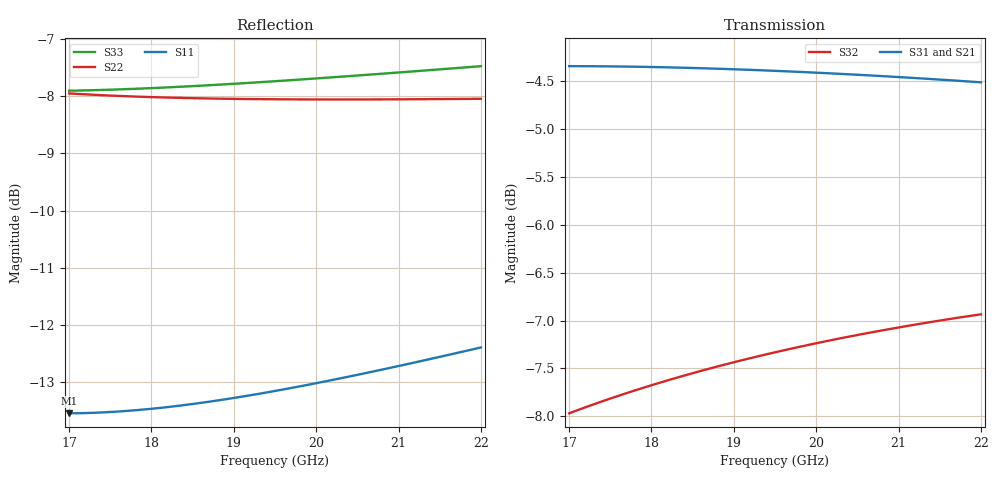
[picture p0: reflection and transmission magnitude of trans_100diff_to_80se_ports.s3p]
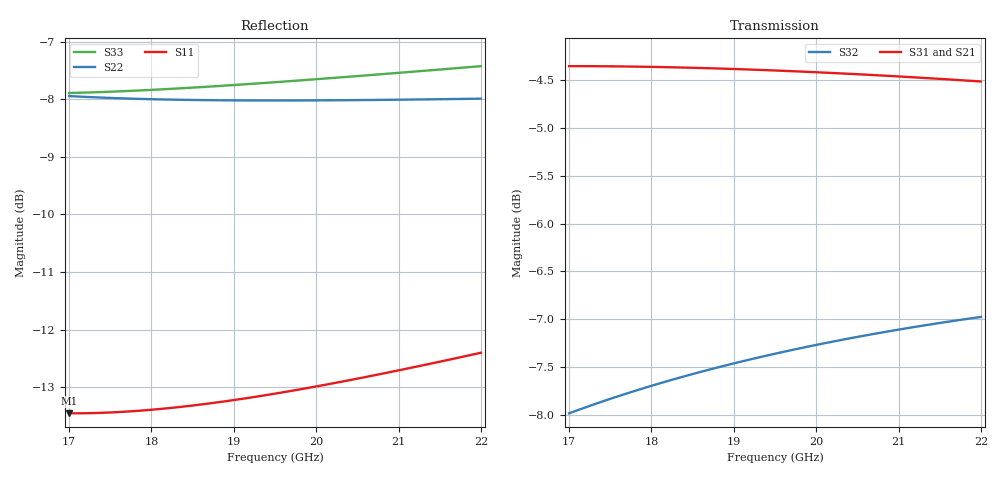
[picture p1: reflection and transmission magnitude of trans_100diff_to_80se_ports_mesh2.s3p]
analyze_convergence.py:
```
#!/usr/bin/env python
"""Mesh convergence analysis for trans_100diff_to_80se_ports (3-port MIM-
loaded balun: port 1 single-ended, ports 2/3 a differential pair).

Uniform mesh sweep at refined_cellsize = 3 (the initial baseline check), 2,
1 um (order 2) plus AMR (2 iterations, starting mesh 2 um) -- no order=1
comparison for this study. Metal3 is pinned to a fixed 5 um refined_cellsize
in every variant (refined_cellsize_override), independent of the swept
global cell size, and merge_polygon_size=3um (TopVia2 array merging) is
identical across all variants -- so the 3um baseline run is directly
comparable to the mesh2/mesh1/amr2 sweep despite predating it.

Uses the RAW (non-de-embedded) Touchstone files throughout, not the
port-inductance-de-embedded ones -- same convention as the baseline
analysis in analyze_baseline.py, so the whole report stays internally
consistent.

Mixed-mode reduction (single-ended port 1 <-> differential mode of ports
2/3, at the true Z01=80 ohm / Z02=100 ohm system impedances) is the same
one documented in analyze_baseline.py -- see that file for the derivation.
"""
import os
import csv
import numpy as np
import skrf as rf
import matplotlib
matplotlib.use("Agg")
import matplotlib.pyplot as plt

HERE = os.path.dirname(os.path.abspath(__file__))
SNP_DIR = os.path.join(HERE, "snp")
PLOT_DIR = os.path.join(HERE, "plots")

UNIFORM_SERIES = [
    ("mesh3", "3 um (uniform, initial check)", "trans_100diff_to_80se_ports.s3p"),
    ("mesh2", "2 um (uniform)", "trans_100diff_to_80se_ports_mesh2.s3p"),
    ("mesh1", "1 um (uniform)", "trans_100diff_to_80se_ports_mesh1.s3p"),
]
AMR_ENTRY = ("amr2", "AMR (2 um start, 2 it.)", "trans_100diff_to_80se_ports_amr2.s3p")

Z01 = 80.0   # true single-ended external system impedance (port 1)
Z02 = 100.0  # true differential external system impedance (ports 2/3)

EVAL_FREQS_GHZ = [17, 19.5, 22]  # band edges + center

PARAMS = ["Sss11", "Sds21", "Sdd22"]


def load(entry):
    key, label, fname = entry
    path = os.path.join(SNP_DIR, fname)
    if not os.path.isfile(path):
        return None
    nw = rf.Network(path)
    nw.name = label
    return key, label, nw


def db(x):
    return 20 * np.log10(np.abs(x))


def deg(x):
    return np.angle(x, deg=True)


def mixed_mode_traces(nw, z01=Z01, z02=Z02):
    Z = nw.z
    Zaa = Z[:, 0, 0]
    Zab = Z[:, 0, 1] - Z[:, 0, 2]
    Zba = Z[:, 1, 0] - Z[:, 2, 0]
    Zbb = Z[:, 1, 1] - Z[:, 1, 2] - Z[:, 2, 1] + Z[:, 2, 2]
    D = (Zaa + z01) * (Zbb + z02) - Zab * Zba
    Sss11 = ((Zaa - z01) * (Zbb + z02) - Zab * Zba) / D
    Sdd22 = ((Zaa + z01) * (Zbb - z02) - Zab * Zba) / D
    Sds21 = 2 * Zba * np.sqrt(z01 * z02) / D
    return {"Sss11": Sss11, "Sds21": Sds21, "Sdd22": Sdd22}


def true_z_single_ended(nw, z01=Z01):
    """Renormalize to the true system impedance per physical port: port 1
    (single-ended) to z01, ports 2/3 left at 50 ohm each -- the natural
    per-leg reference for a 100 ohm differential pair with equal legs
    (Zdiff = 2*50). Returns raw S21, S31 (port1->port2, port1->port3)."""
    nw2 = nw.copy()
    nw2.renormalize([z01, 50.0, 50.0])
    return nw2.s[:, 1, 0], nw2.s[:, 2, 0]


def amplitude_imbalance_db(nw, z01=Z01):
    s21, s31 = true_z_single_ended(nw, z01)
    return db(s21) - db(s31)


def phase_difference_centered(nw, z01=Z01, center_deg=180.0):
    """Phase(S21)-Phase(S31), unwrapped along frequency to avoid the raw
    +/-180 wraparound artifact, then shifted by a whole number of 360 deg
    turns so the trace sits near center_deg (the physically expected value
    for a balun's two antiphase differential outputs)."""
    s21, s31 = true_z_single_ended(nw, z01)
    ratio = s21 / s31
    phase_deg = np.unwrap(np.angle(ratio)) * 180.0 / np.pi
    shift = np.round((center_deg - np.mean(phase_deg)) / 360.0) * 360.0
    return phase_deg + shift


def value_at_freq(freq, x, freq_hz):
    i = int(np.argmin(np.abs(freq - freq_hz)))
    return x[i] if abs(freq[i] - freq_hz) < 0.06e9 else None


def max_delta_linear(fa, xa, fb, xb):
    common = np.intersect1d(fa, fb)
    if common.size == 0:
        return None
    ia = np.searchsorted(fa, common)
    ib = np.searchsorted(fb, common)
    return float(np.max(np.abs(xb[ib] - xa[ia])))


def delta_db_at_freq(fa, xa, fb, xb, freq_hz):
    ia = int(np.argmin(np.abs(fa - freq_hz)))
    ib = int(np.argmin(np.abs(fb - freq_hz)))
    if abs(fa[ia] - freq_hz) > 0.06e9 or abs(fb[ib] - freq_hz) > 0.06e9:
        return None
    return float(abs(db(xb[ib]) - db(xa[ia])))


def main():
    loaded = []
    for entry in UNIFORM_SERIES:
        result = load(entry)
        if result:
            loaded.append(result)
        else:
            print(f"WARNING: missing {entry[2]}, skipping")
    amr_result = load(AMR_ENTRY)
    if not amr_result:
        print(f"WARNING: missing {AMR_ENTRY[2]}")

    if len(loaded) < 2:
        print("Need at least two uniform-mesh results; exiting.")
        return

    traces = {}
    for key, label, nw in loaded + ([amr_result] if amr_result else []):
        traces[key] = (nw.frequency.f, mixed_mode_traces(nw))

    def fmt(x):
        return f"{x:.4f}" if x is not None else "n/a"

    comparisons = [(loaded[i - 1], loaded[i]) for i in range(1, len(loaded))]
    if amr_result:
        comparisons.append((loaded[-1], amr_result))

    csv_path = os.path.join(HERE, "delta_S_table.csv")
    with open(csv_path, "w", newline="") as f:
        writer = csv.writer(f)
        writer.writerow(["Param", "Comparison", "Max|dS| (linear)"] +
                         [f"|dS_dB| at {fg}GHz" for fg in EVAL_FREQS_GHZ])
        for pname in PARAMS:
            for (key_a, label_a, _), (key_b, label_b, _) in comparisons:
                fa, xa = traces[key_a][0], traces[key_a][1][pname]
                fb, xb = traces[key_b][0], traces[key_b][1][pname]
                max_d = max_delta_linear(fa, xa, fb, xb)
                d_vals = [delta_db_at_freq(fa, xa, fb, xb, fg * 1e9) for fg in EVAL_FREQS_GHZ]
                writer.writerow([pname, f"{label_a} -> {label_b}", fmt(max_d)] + [fmt(d) for d in d_vals])
    print(f"Wrote delta-S table: {csv_path}")

    if amr_result:
        ref_key, ref_label, _ = amr_result
        csv_path_ref = os.path.join(HERE, "delta_S_vs_finest.csv")
        with open(csv_path_ref, "w", newline="") as f:
            writer = csv.writer(f)
            writer.writerow(["Param", "Mesh", f"Max|dS| vs. {ref_label} (linear)"] +
                             [f"|dS_dB| at {fg}GHz" for fg in EVAL_FREQS_GHZ])
            for pname in PARAMS:
                for key, label, _ in loaded:
                    fa, xa = traces[key][0], traces[key][1][pname]
                    fb, xb = traces[ref_key][0], traces[ref_key][1][pname]
                    max_d = max_delta_linear(fa, xa, fb, xb)
                    d_vals = [delta_db_at_freq(fa, xa, fb, xb, fg * 1e9) for fg in EVAL_FREQS_GHZ]
                    writer.writerow([pname, label, fmt(max_d)] + [fmt(d) for d in d_vals])
        print(f"Wrote delta-S-vs-finest table: {csv_path_ref}")

    all_keys_for_mag = [k for k, _, _ in loaded] + (["amr2"] if amr_result else [])
    all_labels_for_mag = {k: l for k, l, _ in loaded}
    if amr_result:
        all_labels_for_mag[amr_result[0]] = amr_result[1]
    csv_path_mag = os.path.join(HERE, "s_parameter_magnitude_table.csv")
    with open(csv_path_mag, "w", newline="") as f:
        writer = csv.writer(f)
        writer.writerow(["Param", "Mesh"] + [f"{fg} GHz |S| (dB)" for fg in EVAL_FREQS_GHZ])
        for pname in PARAMS:
            for key in all_keys_for_mag:
                freq, pdict = traces[key]
                x = pdict[pname]
                mags = [value_at_freq(freq, x, fg * 1e9) for fg in EVAL_FREQS_GHZ]
                row = [pname, all_labels_for_mag[key]] + [f"{db(v):.3f}" if v is not None else "n/a" for v in mags]
                writer.writerow(row)
    print(f"Wrote S-parameter magnitude table: {csv_path_mag}")

    os.makedirs(PLOT_DIR, exist_ok=True)
    colors = {"mesh3": "#8172b2", "mesh2": "#4c72b0", "mesh1": "#dd8452", "amr2": "#55a868"}
    all_keys = [k for k, _, _ in loaded] + (["amr2"] if amr_result else [])
    all_labels = {k: l for k, l, _ in loaded}
    if amr_result:
        all_labels[amr_result[0]] = amr_result[1]

    for pname in PARAMS:
        fig, (ax_mag, ax_phase) = plt.subplots(2, 1, figsize=(8, 7), sharex=True)
        for key in all_keys:
            freq, pdict = traces[key]
            style = "--" if key == "amr2" else "-"
            freq_ghz = freq / 1e9
            ax_mag.plot(freq_ghz, db(pdict[pname]), color=colors[key], linestyle=style, label=all_labels[key])
            ax_phase.plot(freq_ghz, deg(pdict[pname]), color=colors[key], linestyle=style, label=all_labels[key])
        ax_mag.set_ylabel(f"|{pname}| (dB)")
        ax_mag.grid(True, alpha=0.3)
        ax_mag.legend(fontsize=8)
        ax_mag.set_title(f"{pname} vs. mesh refinement (Z01={Z01:.0f} ohm SE, Z02={Z02:.0f} ohm diff)")
        ax_phase.set_xlabel("Frequency (GHz)")
        ax_phase.set_ylabel(f"arg({pname}) (deg)")
        ax_phase.grid(True, alpha=0.3)
        fig.tight_layout()
        out_path = os.path.join(PLOT_DIR, f"{pname.lower()}_convergence.png")
        fig.savefig(out_path, dpi=150)
        plt.close(fig)
        print(f"Wrote plot: {out_path}")

    # amplitude imbalance and phase difference between the two differential
    # outputs (S21, S31), at the true system impedance (port 1 -> 80 ohm,
    # ports 2/3 left at 50 ohm each -- the natural per-leg reference for the
    # 100 ohm differential pair)
    all_nws = {k: nw for k, _, nw in loaded}
    if amr_result:
        all_nws[amr_result[0]] = amr_result[2]

    fig, ax = plt.subplots(figsize=(8, 4.5))
    for key in all_keys:
        nw = all_nws[key]
        freq_ghz = nw.frequency.f / 1e9
        style = "--" if key == "amr2" else "-"
        ax.plot(freq_ghz, amplitude_imbalance_db(nw), color=colors[key], linestyle=style, label=all_labels[key])
    ax.set_xlabel("Frequency (GHz)")
    ax.set_ylabel("|S21| - |S31| (dB)")
    ax.set_title(f"Amplitude imbalance, port 2 vs. port 3 (true Z: port1={Z01:.0f} ohm, ports2/3=50 ohm each)")
    ax.grid(True, alpha=0.3)
    ax.legend(fontsize=8)
    fig.tight_layout()
    out_path = os.path.join(PLOT_DIR, "amplitude_imbalance.png")
    fig.savefig(out_path, dpi=150)
    plt.close(fig)
    print(f"Wrote plot: {out_path}")

    fig, ax = plt.subplots(figsize=(8, 4.5))
    for key in all_keys:
        nw = all_nws[key]
        freq_ghz = nw.frequency.f / 1e9
        style = "--" if key == "amr2" else "-"
        ax.plot(freq_ghz, phase_difference_centered(nw), color=colors[key], linestyle=style, label=all_labels[key])
    ax.set_xlabel("Frequency (GHz)")
    ax.set_ylabel("Phase(S21) - Phase(S31) (deg)")
    ax.set_ylim(177, 183)
    ax.axhline(180, color="black", linewidth=0.8, alpha=0.5)
    ax.set_title(f"Phase difference, port 2 vs. port 3 (true Z: port1={Z01:.0f} ohm, ports2/3=50 ohm each)")
    ax.grid(True, alpha=0.3)
    ax.legend(fontsize=8)
    fig.tight_layout()
    out_path = os.path.join(PLOT_DIR, "phase_difference.png")
    fig.savefig(out_path, dpi=150)
    plt.close(fig)
    print(f"Wrote plot: {out_path}")


if __name__ == "__main__":
    main()
```
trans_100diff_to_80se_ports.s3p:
#  GHZ S DB R 50.0
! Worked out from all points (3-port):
!   51 points, 17 GHz to 22 GHz, reference 50 ohm
!   strongest paths, dB at 17 GHz, 18.2 GHz, 19.5 GHz, 20.8 GHz, 22 GHz:
!     S31: -4.3, -4.4, -4.4, -4.4, -4.5
!     S21: -4.5, -4.4, -4.4, -4.4, -4.4
!     S32: -8.0, -7.6, -7.3, -7.1, -6.9
!   lowest |S11| = -13.5 dB at 17 GHz (marker M1), VSWR 1.53, Z = 75.5 + j6.92 ohm
!   |S11| at or under -10 dB: start of sweep to end of sweep
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17  -13.54 12.0  -4.49 -173.7  -4.35 6.0
    -4.49 -173.7  -7.95 95.4  -7.97 73.4
    -4.35 6.0  -7.97 73.4  -7.90 92.5
18.1  -13.45 -2.1  -4.44 178.5  -4.36 -1.4
      -4.44 178.5  -8.02 85.3  -7.65 66.1
      -4.36 -1.4  -7.65 66.1  -7.85 82.7
19.3  -13.20 -15.6  -4.41 170.5  -4.39 -9.0
      -4.41 170.5  -8.05 75.7  -7.37 58.8
      -4.39 -9.0  -7.37 58.8  -7.76 73.5
20.6  -12.84 -28.3  -4.40 162.4  -4.44 -16.7
      -4.40 162.4  -8.06 66.9  -7.13 51.6
      -4.44 -16.7  -7.13 51.6  -7.63 65.0
22  -12.39 -40.1  -4.41 154.2  -4.51 -24.5
    -4.41 154.2  -8.05 58.7  -6.94 44.4
    -4.51 -24.5  -6.94 44.4  -7.48 57.0
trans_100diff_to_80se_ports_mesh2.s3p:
#  GHZ S DB R 50.0
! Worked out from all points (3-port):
!   51 points, 17 GHz to 22 GHz, reference 50 ohm
!   strongest paths, dB at 17 GHz, 18.2 GHz, 19.5 GHz, 20.8 GHz, 22 GHz:
!     S31: -4.4, -4.4, -4.4, -4.5, -4.5
!     S21: -4.5, -4.4, -4.4, -4.4, -4.4
!     S32: -8.0, -7.6, -7.4, -7.1, -7.0
!   lowest |S11| = -13.5 dB at 17 GHz (marker M1), VSWR 1.54, Z = 75.6 + j7.68 ohm
!   |S11| at or under -10 dB: start of sweep to end of sweep
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17  -13.46 13.2  -4.49 -173.1  -4.35 6.5
    -4.49 -173.1  -7.94 95.7  -7.99 73.5
    -4.35 6.5  -7.99 73.5  -7.89 92.8
18.1  -13.38 -0.7  -4.44 179.1  -4.36 -1.0
      -4.44 179.1  -8.00 85.6  -7.67 66.1
      -4.36 -1.0  -7.67 66.1  -7.83 82.9
19.3  -13.16 -14.0  -4.41 171.1  -4.39 -8.6
      -4.41 171.1  -8.02 76.0  -7.40 58.8
      -4.39 -8.6  -7.40 58.8  -7.72 73.7
20.6  -12.83 -26.4  -4.40 163.0  -4.44 -16.2
      -4.40 163.0  -8.01 67.1  -7.17 51.6
      -4.44 -16.2  -7.17 51.6  -7.58 65.1
22  -12.40 -38.1  -4.40 154.7  -4.51 -24.1
    -4.40 154.7  -7.99 58.9  -6.98 44.4
    -4.51 -24.1  -6.98 44.4  -7.42 57.2
